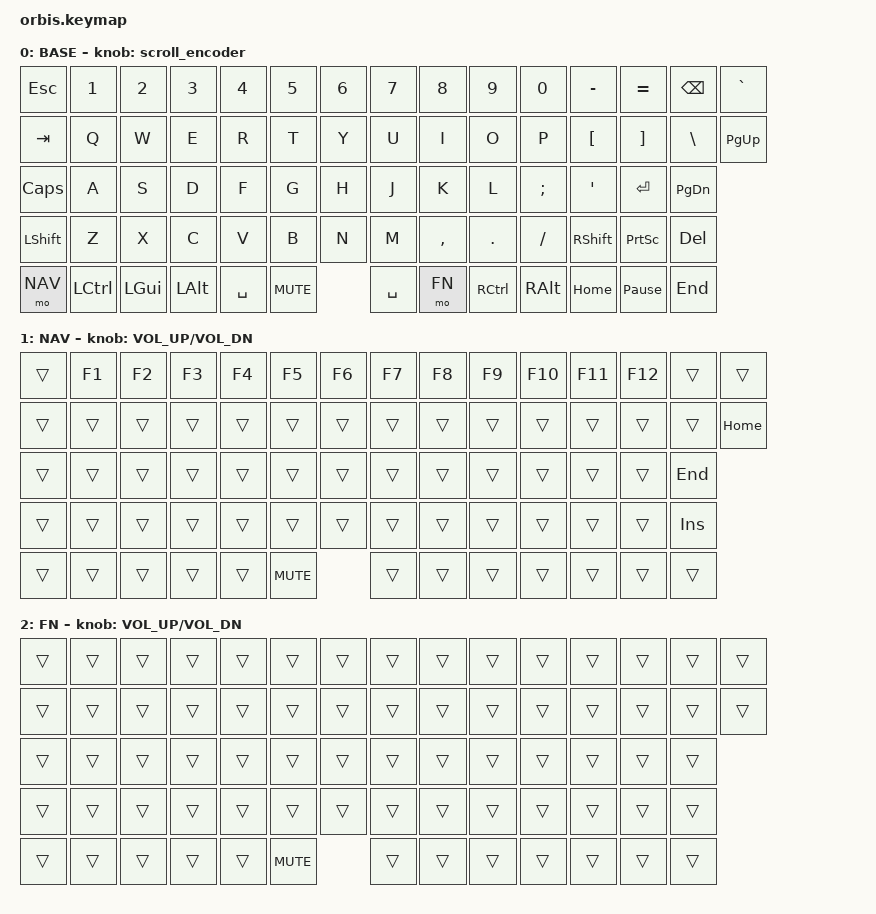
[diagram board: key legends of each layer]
/*
 * Orbis 默认键位图（由 hardware/plate/gen_firmware.py 生成，勿手改）
 * 每层 71 个绑定，顺序与 orbis.dtsi 的 matrix-transform 一致：
 *   15 / 15 / 14 / 14 / 13
 *
 * SPDX-License-Identifier: MIT
 */

#include <behaviors.dtsi>
#include <dt-bindings/zmk/keys.h>
#include <dt-bindings/zmk/bt.h>
#include <dt-bindings/zmk/pointing.h>
#include <dt-bindings/zmk/ext_power.h>
#include <dt-bindings/zmk/outputs.h>

#define BASE 0
#define NAV 1
#define FN 2

/ {
    /* 默认层：编码器滚屏。顺时针=向上滚，逆时针=向下滚 */
    behaviors {
        scroll_encoder: scroll_encoder {
            compatible = "zmk,behavior-sensor-rotate";
            #sensor-binding-cells = <0>;
            bindings = <&msc SCRL_UP>, <&msc SCRL_DOWN>;
        };
    };

    keymap {
        compatible = "zmk,keymap";

        /* ---------- 第 0 层：BASE ---------- */
        base_layer {
            display-name = "BASE";
            bindings = <
&kp ESC &kp N1 &kp N2 &kp N3 &kp N4 &kp N5 &kp N6 &kp N7 &kp N8 &kp N9 &kp N0 &kp MINUS &kp EQUAL &kp BSPC &kp GRAVE
&kp TAB &kp Q &kp W &kp E &kp R &kp T &kp Y &kp U &kp I &kp O &kp P &kp LBKT &kp RBKT &kp BSLH &kp PG_UP
&kp CLCK &kp A &kp S &kp D &kp F &kp G &kp H &kp J &kp K &kp L &kp SEMI &kp SQT &kp RET &kp PG_DN
&kp LSHFT &kp Z &kp X &kp C &kp V &kp B &kp N &kp M &kp COMMA &kp DOT &kp FSLH &kp RSHFT &kp PSCRN &kp DEL
&mo NAV &kp LCTRL &kp LGUI &kp LALT &kp SPACE &kp C_MUTE &kp SPACE &mo FN &kp RCTRL &kp RALT &kp HOME &kp PAUSE_BREAK &kp END
            >;

            sensor-bindings = <&scroll_encoder>;
        };

        /* ---------- 第 1 层：NAV ---------- */
        nav_layer {
            display-name = "NAV";
            bindings = <
&trans &kp F1 &kp F2 &kp F3 &kp F4 &kp F5 &kp F6 &kp F7 &kp F8 &kp F9 &kp F10 &kp F11 &kp F12 &trans &trans
&trans &trans &trans &trans &trans &trans &trans &trans &trans &trans &trans &trans &trans &trans &kp HOME
&trans &trans &trans &trans &trans &trans &trans &trans &trans &trans &trans &trans &trans &kp END
&trans &trans &trans &trans &trans &trans &trans &trans &trans &trans &trans &trans &trans &kp INS
&trans &trans &trans &trans &trans &kp C_MUTE &trans &trans &trans &trans &trans &trans &trans
            >;

            sensor-bindings = <&inc_dec_kp C_VOL_UP C_VOL_DN>;
        };

        /* ---------- 第 2 层：FN ---------- */
        fn_layer {
            display-name = "FN";
            bindings = <
&trans &trans &trans &trans &trans &trans &trans &trans &trans &trans &trans &trans &trans &trans &trans
&trans &trans &trans &trans &trans &trans &trans &trans &trans &trans &trans &trans &trans &trans &trans
&trans &trans &trans &trans &trans &trans &trans &trans &trans &trans &trans &trans &trans &trans
&trans &trans &trans &trans &trans &trans &trans &trans &trans &trans &trans &trans &trans &trans
&trans &trans &trans &trans &trans &kp C_MUTE &trans &trans &trans &trans &trans &trans &trans
            >;

            sensor-bindings = <&inc_dec_kp C_VOL_UP C_VOL_DN>;
        };
    };
};
